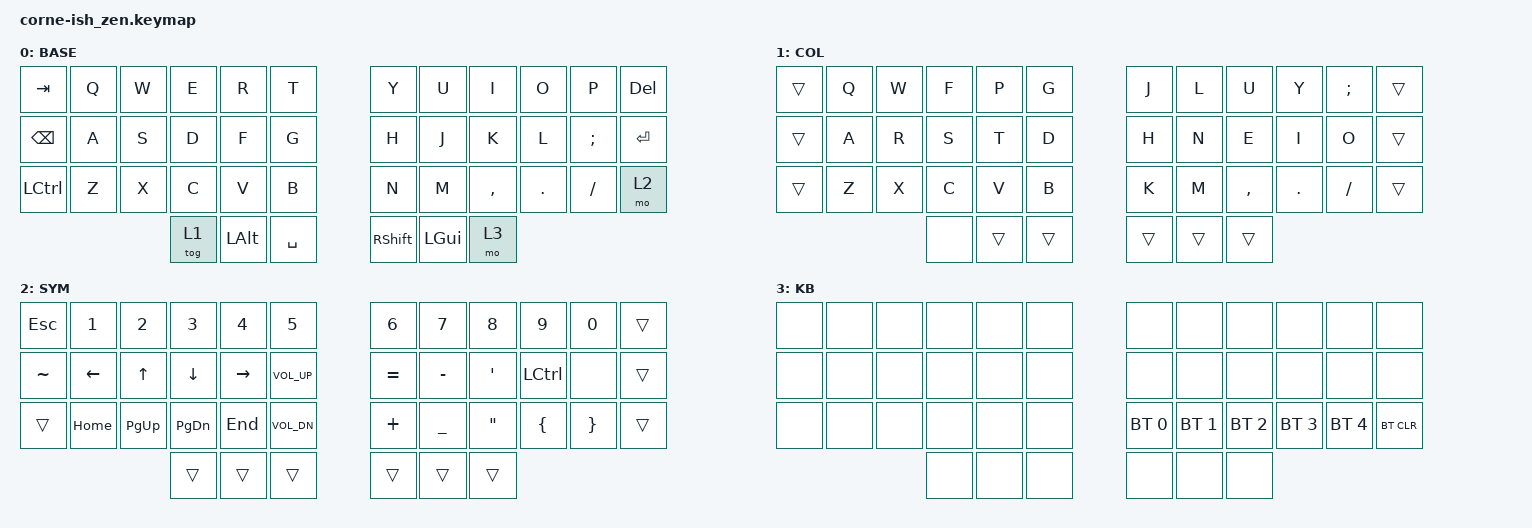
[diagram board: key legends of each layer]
/*
*
* Copyright (c) 2022 Henry Marshall
* SPDX-License-Identifier: MIT
*
*/

#include <behaviors.dtsi>
#include <dt-bindings/zmk/keys.h>
#include <dt-bindings/zmk/bt.h>

/ {
        keymap {
                compatible = "zmk,keymap";

                default_layer {
                        label = "BASE";
                        bindings = <
// ╭─────────────┬─────────────┬─────────────┬─────────────┬─────────────┬─────────────╮   ╭─────────────┬─────────────┬─────────────┬─────────────┬─────────────┬─────────────╮
    &kp TAB       &kp Q         &kp W         &kp E         &kp R         &kp T             &kp Y         &kp U         &kp I         &kp O         &kp P         &kp DEL
// ├─────────────├─────────────┼─────────────┼─────────────┼─────────────┼─────────────┤   ├─────────────┼─────────────┼─────────────┼─────────────┼─────────────┤─────────────┤
    &kp BSPC      &kp A         &kp S         &kp D         &kp F         &kp G             &kp H         &kp J         &kp K         &kp L         &kp SEMI      &kp RET
// ├─────────────├─────────────┼─────────────┼─────────────┼─────────────┼─────────────┤   ├─────────────┼─────────────┼─────────────┼─────────────┼─────────────┤─────────────┤
    &kp LCTRL     &kp Z         &kp X         &kp C         &kp V         &kp B             &kp N         &kp M         &kp COMMA     &kp DOT       &kp FSLH      &mo 2
// ╰─────────────┴─────────────┴─────────────┴─────────────┼─────────────┼─────────────┤   ├─────────────┼─────────────┼─────────────┴─────────────┴─────────────┤─────────────╯
                                              &tog 1        &kp LALT      &kp SPACE         &kp RSHIFT    &kp LGUI      &mo 3
//                                           ╰─────────────┴─────────────┴─────────────╯   ╰─────────────┴─────────────┴─────────────╯
                        >;
                };

                colemak_layer {
                        label = "COL";
                        bindings = <
// ╭─────────────┬─────────────┬─────────────┬─────────────┬─────────────┬─────────────╮   ╭─────────────┬─────────────┬─────────────┬─────────────┬─────────────┬─────────────╮
    &trans        &kp Q         &kp W         &kp F         &kp P         &kp G             &kp J         &kp L         &kp U         &kp Y         &kp SEMI      &trans
// ├─────────────├─────────────┼─────────────┼─────────────┼─────────────┼─────────────┤   ├─────────────┼─────────────┼─────────────┼─────────────┼─────────────┤─────────────┤
    &trans        &kp A         &kp R         &kp S         &kp T         &kp D             &kp H         &kp N         &kp E         &kp I         &kp O         &trans
// ├─────────────├─────────────┼─────────────┼─────────────┼─────────────┼─────────────┤   ├─────────────┼─────────────┼─────────────┼─────────────┼─────────────┤─────────────┤
    &trans        &kp Z         &kp X         &kp C         &kp V         &kp B             &kp K         &kp M         &kp COMMA     &kp DOT       &kp FSLH      &trans
// ╰─────────────┴─────────────┴─────────────┴─────────────┼─────────────┼─────────────┤   ├─────────────┼─────────────┼─────────────┴─────────────┴─────────────┤─────────────╯
                                              &none         &trans        &trans            &trans        &trans        &trans
//                                           ╰─────────────┴─────────────┴─────────────╯   ╰─────────────┴─────────────┴─────────────╯
                        >;
                };

                symbol_layer {
                        label = "SYM";
                        bindings = <
// ╭─────────────┬─────────────┬─────────────┬─────────────┬─────────────┬─────────────╮   ╭─────────────┬─────────────┬─────────────┬─────────────┬─────────────┬─────────────╮
    &kp ESC       &kp 1         &kp 2         &kp 3         &kp 4         &kp 5             &kp 6         &kp 7         &kp 8         &kp 9         &kp 0         &trans
// ├─────────────├─────────────┼─────────────┼─────────────┼─────────────┼─────────────┤   ├─────────────┼─────────────┼─────────────┼─────────────┼─────────────┤─────────────┤
    &kp TILDE     &kp LEFT      &kp UP        &kp DOWN      &kp RIGHT     &kp C_VOL_UP      &kp EQUAL     &kp MINUS     &kp SQT       &kp LCTRL     &none         &trans
// ├─────────────├─────────────┼─────────────┼─────────────┼─────────────┼─────────────┤   ├─────────────┼─────────────┼─────────────┼─────────────┼─────────────┤─────────────┤
    &trans        &kp HOME      &kp PG_UP     &kp PG_DN     &kp END       &kp C_VOL_DN      &kp PLUS      &kp UNDER     &kp DQT       &kp LBRC      &kp RBRC      &trans
// ╰─────────────┴─────────────┴─────────────┴─────────────┼─────────────┼─────────────┤   ├─────────────┼─────────────┼─────────────┴─────────────┴─────────────┤─────────────╯
                                              &trans        &trans        &trans            &trans        &trans        &trans
//                                           ╰─────────────┴─────────────┴─────────────╯   ╰─────────────┴─────────────┴─────────────╯
                        >;
                };

                kb_layer {
                        label = "KB";
                        bindings = <
// ╭─────────────┬─────────────┬─────────────┬─────────────┬─────────────┬─────────────╮   ╭─────────────┬─────────────┬─────────────┬─────────────┬─────────────┬─────────────╮
    &none         &none         &none         &none         &none         &none             &none         &none         &none         &none         &none         &none
// ├─────────────├─────────────┼─────────────┼─────────────┼─────────────┼─────────────┤   ├─────────────┼─────────────┼─────────────┼─────────────┼─────────────┤─────────────┤
    &none         &none         &none         &none         &none         &none             &none         &none         &none         &none         &none         &none
// ├─────────────├─────────────┼─────────────┼─────────────┼─────────────┼─────────────┤   ├─────────────┼─────────────┼─────────────┼─────────────┼─────────────┤─────────────┤
    &none         &none         &none         &none         &none         &none             &bt BT_SEL 0  &bt BT_SEL 1  &bt BT_SEL 2  &bt BT_SEL 3  &bt BT_SEL 4  &bt BT_CLR
// ╰─────────────┴─────────────┴─────────────┴─────────────┼─────────────┼─────────────┤   ├─────────────┼─────────────┼─────────────┴─────────────┴─────────────┤─────────────╯
                                              &none         &none         &none             &none         &none         &none
//                                           ╰─────────────┴─────────────┴─────────────╯   ╰─────────────┴─────────────┴─────────────╯
                        >;
                };
        };
};
